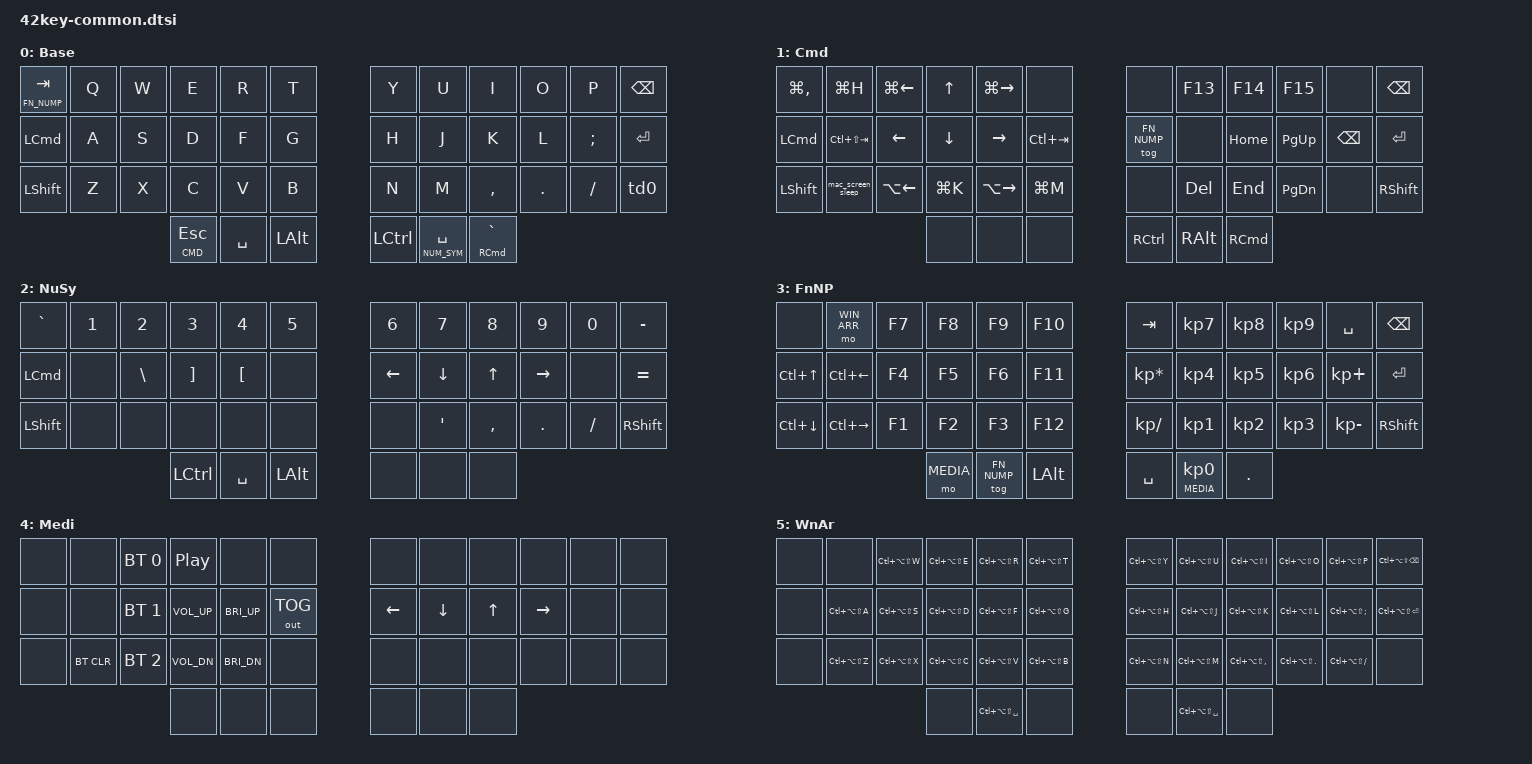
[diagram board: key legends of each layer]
#define DEFAULT 0
#define CMD     1
#define NUM_SYM 2
#define FN_NUMP 3
#define MEDIA   4
#define WIN_ARR 5


#include "key-common.dtsi"

&mt {
   flavor = "tap-preferred";
   tapping_term_ms = <200>;
};

&lt {
   flavor = "hold-preferred";
   tapping_term_ms = <200>;
};

/ {

// Tap dance setting
    behaviors {
        td0: tap_dance_0 {
            compatible = "zmk,behavior-tap-dance";
            label = "RShift when tap once, CapsL when tap twice";
            #binding-cells = <0>;
            tapping-term-ms = <200>;
            bindings = <&kp RSHFT>, <&kp CAPS>;
        };

        ht_hp: hold_tap_hold_preffered {
            compatible = "zmk,behavior-hold-tap";
            label = "Hold tap with hold preferred flavor";
            #binding-cells = <2>;
            tapping-term-ms = <200>;    // <---[[moderate duration]]
            quick-tap-ms = <0>;
            flavor = "hold-preferred";
            bindings = <&kp>, <&kp>;
        };
    };


    keymap {
        compatible = "zmk,keymap";

// **Legend**
// Mo   : Momentary switch to layer
// Td	: Tap Dance
// M/T	: Momentary switch to layer, double press to toggle layer
// Co	: Combo Keys
// ToLay: Set default layer
// Tog  : Toogle layer
// CBT	: Connect to bluetooth device


        default_layer {
          label = "Base";

                        bindings = <
   &lt FN_NUMP TAB  &kp Q  &kp W  &kp E        &kp R      &kp T             &kp Y      &kp U              &kp I           &kp O    &kp P     &kp BSPC
   &kp LCMD         &kp A  &kp S  &kp D        &kp F      &kp G             &kp H      &kp J              &kp K           &kp L    &kp SEMI  &kp ENTER
   &kp LSHFT        &kp Z  &kp X  &kp C        &kp V      &kp B             &kp N      &kp M              &kp COMMA       &kp DOT  &kp FSLH  &td0
                                  &lt CMD ESC  &kp SPACE  &kp LALT          &kp LCTRL  &lt NUM_SYM SPACE  &ht_hp RCMD GRAVE
                        >;
                };


        1st_layer {
          label = "Cmd";

                        bindings = <
   &kp LG(COMMA)  &kp LG(H)          &kp LG(LEFT)  &kp UP     &kp LG(RIGHT)  &none                &none         &kp F13   &kp F14   &kp F15        &none     &kp BSPC
   &kp LCMD       &kp LC(LS(TAB))    &kp LEFT      &kp DOWN   &kp RIGHT      &kp LC(TAB)          &tog FN_NUMP  &none     &kp HOME  &kp PAGE_UP    &kp BSPC  &kp ENTER
   &kp LSHFT      &mac_screen_sleep  &kp LA(LEFT)  &kp LG(K)  &kp LA(RIGHT)  &kp LG(M)            &none         &kp DEL   &kp END   &kp PAGE_DOWN  &none     &kp RSHFT
                          	                       &none      &none          &none                &kp RCTRL     &kp RALT  &kp RCMD
                        >;
                };


        2nd_layer {
            label = "NuSy";

                        bindings = <
   &kp GRAVE  &kp N1  &kp N2    &kp N3     &kp N4     &kp N5            &kp N6    &kp N7            &kp N8     &kp N9     &kp N0    &kp MINUS
   &kp LCMD   &none   &kp BSLH  &kp RBKT   &kp LBKT   &none             &kp LEFT  &kp DOWN          &kp UP     &kp RIGHT  &none     &kp EQUAL
   &kp LSHFT  &none   &none     &none      &none      &none             &none     &kp SINGLE_QUOTE  &kp COMMA  &kp DOT    &kp FSLH  &kp RSHFT
                    	        &kp LCTRL  &kp SPACE  &kp LALT          &none     &none             &none
                        >;
                };


         3rd_layer {
            label = "FnNP";

                        bindings = <
   &none         &mo WIN_ARR    &kp F7  &kp F8     &kp F9        &kp F10           &kp TAB          &kp KP_N7        &kp KP_N8  &kp KP_N9  &kp SPACE     &kp BSPC
   &kp LC(UP)    &kp LC(LEFT)   &kp F4  &kp F5     &kp F6        &kp F11           &kp KP_MULTIPLY  &kp KP_N4        &kp KP_N5  &kp KP_N6  &kp KP_PLUS   &kp ENTER
   &kp LC(DOWN)  &kp LC(RIGHT)  &kp F1  &kp F2     &kp F3        &kp F12           &kp KP_DIVIDE    &kp KP_N1        &kp KP_N2  &kp KP_N3  &kp KP_MINUS  &kp RSHFT
                                        &mo MEDIA  &tog FN_NUMP  &kp LALT          &kp SPACE        &lt MEDIA KP_N0  &kp DOT
                        >;
                };


         4th_layer {
            label = "Medi";

                        bindings = <
   &none  &none       &bt BT_SEL 0  &kp C_PLAY_PAUSE  &none         &none                 &none     &none     &none   &none      &none  &none
   &none  &none       &bt BT_SEL 1  &kp C_VOL_UP      &kp C_BRI_UP  &out OUT_TOG          &kp LEFT  &kp DOWN  &kp UP  &kp RIGHT  &none  &none
   &none  &bt BT_CLR  &bt BT_SEL 2  &kp C_VOL_DN      &kp C_BRI_DN  &none                 &none     &none     &none   &none      &none  &none
                                    &none             &none         &none                 &none     &none     &none
                        >;
                };


         5th_layer {
            label = "WnAr";

                        bindings = <
   &none  &none              &kp LC(LA(LS(W)))  &kp LC(LA(LS(E)))  &kp LC(LA(LS(R)))      &kp LC(LA(LS(T)))          &kp LC(LA(LS(Y)))  &kp LC(LA(LS(U)))      &kp LC(LA(LS(I)))      &kp LC(LA(LS(O)))    &kp LC(LA(LS(P)))     &kp LC(LA(LS(BSPC)))
   &none  &kp LC(LA(LS(A)))  &kp LC(LA(LS(S)))  &kp LC(LA(LS(D)))  &kp LC(LA(LS(F)))      &kp LC(LA(LS(G)))          &kp LC(LA(LS(H)))  &kp LC(LA(LS(J)))      &kp LC(LA(LS(K)))      &kp LC(LA(LS(L)))    &kp LC(LA(LS(SEMI)))  &kp LC(LA(LS(ENTER)))
   &none  &kp LC(LA(LS(Z)))  &kp LC(LA(LS(X)))  &kp LC(LA(LS(C)))  &kp LC(LA(LS(V)))      &kp LC(LA(LS(B)))          &kp LC(LA(LS(N)))  &kp LC(LA(LS(M)))      &kp LC(LA(LS(COMMA)))  &kp LC(LA(LS(DOT)))  &kp LC(LA(LS(FSLH)))  &none
                                                &none              &kp LC(LA(LS(SPACE)))  &none                      &none              &kp LC(LA(LS(SPACE)))  &none
                        >;
                };

        };
};
